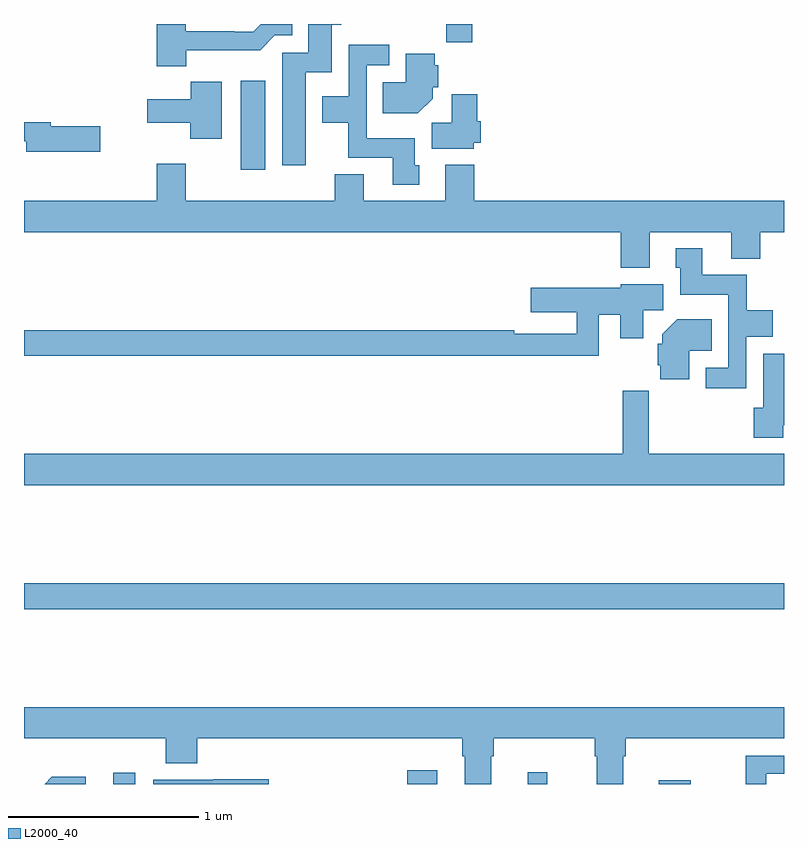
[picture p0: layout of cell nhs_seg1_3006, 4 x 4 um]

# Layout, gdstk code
import gdstk
lib = gdstk.Library(unit=1e-6, precision=1e-09)
def R(c, l, rs):  # rectangles x0, y0, x1, y1
    for r in rs: c.add(gdstk.rectangle(r[:2], r[2:], *l))
def P(c, l, *ps):  # polygons
    for p in ps: c.add(gdstk.Polygon(p, *l))
L2000_40 = (2000, 40)

nhs_seg1_3006 = lib.new_cell('nhs_seg1_3006')
R(nhs_seg1_3006, L2000_40, [(275.471,510.199,275.586,510.259), (277.016,510.199,277.174,510.271), (277.652,510.199,277.754,510.262), (278.342,510.199,278.508,510.22), (275,511.12,279,511.256), (276.14,513.432,276.271,513.901), (277.222,514.104,277.358,514.199)])
P(nhs_seg1_3006, L2000_40, [(276.484,513.944),(276.619,513.944),(276.619,514.195),(276.671,514.195),(276.671,514.199),(276.497,514.199),(276.497,514.047),(276.359,514.047),(276.359,513.456),(276.484,513.456)],
  [(275.854,514.062),(276.243,514.062),(276.321,514.14),(276.412,514.14),(276.412,514.199),(276.247,514.199),(276.206,514.158),(276.107,514.158),(276.107,514.161),(275.851,514.161),(275.851,514.199),(275.699,514.199),(275.699,513.977),(275.854,513.977)],
  [(277.081,513.456),(277.057,513.456),(277.057,513.598),(276.804,513.598),(276.804,513.981),(276.922,513.981),(276.922,514.09),(276.708,514.09),(276.708,513.82),(276.569,513.82),(276.569,513.68),(276.706,513.68),(276.706,513.494),(276.941,513.494),(276.941,513.354),(277.081,513.354)],
  [(277.15,513.806),(277.15,513.867),(277.179,513.867),(277.179,513.981),(277.163,513.981),(277.163,514.042),(277.01,514.042),(277.01,513.892),(276.889,513.892),(276.889,513.728),(277.072,513.728)],
  [(276.04,513.895),(275.878,513.895),(275.878,513.802),(275.649,513.802),(275.649,513.68),(275.876,513.68),(275.876,513.594),(276.04,513.594)],
  [(277.368,513.573),(277.403,513.573),(277.403,513.687),(277.385,513.687),(277.385,513.829),(277.251,513.829),(277.251,513.68),(277.145,513.68),(277.145,513.542),(277.368,513.542)],
  [(275.401,513.662),(275.14,513.662),(275.14,513.683),(275,513.683),(275,513.582),(275.012,513.582),(275.012,513.527),(275.401,513.527)],
  [(278.293,513.104),(278.723,513.104),(278.723,512.963),(278.876,512.963),(278.876,513.104),(279,513.104),(279,513.268),(277.37,513.268),(277.37,513.457),(277.217,513.457),(277.217,513.268),(276.787,513.268),(276.787,513.409),(276.635,513.409),(276.635,513.268),(275.851,513.268),(275.851,513.463),(275.699,513.463),(275.699,513.268),(275,513.268),(275,513.104),(278.141,513.104),(278.141,512.915),(278.293,512.915)],
  [(278.802,512.552),(278.941,512.552),(278.941,512.692),(278.805,512.692),(278.805,512.878),(278.569,512.878),(278.569,513.019),(278.429,513.019),(278.429,512.916),(278.453,512.916),(278.453,512.774),(278.706,512.774),(278.706,512.391),(278.589,512.391),(278.589,512.283),(278.802,512.283)],
  [(278.025,512.669),(278.138,512.669),(278.138,512.544),(278.259,512.544),(278.259,512.692),(278.365,512.692),(278.365,512.83),(278.142,512.83),(278.142,512.811),(277.668,512.811),(277.668,512.681),(277.909,512.681),(277.909,512.568),(277.58,512.568),(277.58,512.588),(275,512.588),(275,512.452),(278.025,512.452)],
  [(278.5,512.48),(278.621,512.48),(278.621,512.644),(278.438,512.644),(278.36,512.566),(278.36,512.517),(278.336,512.517),(278.336,512.403),(278.348,512.403),(278.348,512.33),(278.5,512.33)],
  [(278.997,512.088),(279,512.088),(279,512.464),(278.891,512.464),(278.891,512.178),(278.84,512.178),(278.84,512.022),(278.997,512.022)],
  [(279,511.936),(278.288,511.936),(278.288,512.269),(278.152,512.269),(278.152,511.936),(275,511.936),(275,511.772),(279,511.772)],
  [(277.459,510.344),(277.472,510.344),(277.472,510.44),(278.003,510.44),(278.003,510.344),(278.015,510.344),(278.015,510.199),(278.155,510.199),(278.155,510.344),(278.168,510.344),(278.168,510.44),(279,510.44),(279,510.604),(275,510.604),(275,510.44),(275.747,510.44),(275.747,510.307),(275.912,510.307),(275.912,510.44),(277.307,510.44),(277.307,510.344),(277.319,510.344),(277.319,510.199),(277.459,510.199)],
  [(278.907,510.252),(279,510.252),(279,510.348),(278.799,510.348),(278.799,510.199),(278.907,510.199)],
  [(275.326,510.236),(275.147,510.236),(275.11,510.199),(275.326,510.199)],
  [(276.287,510.224),(275.995,510.224),(275.995,510.222),(275.679,510.222),(275.679,510.199),(276.287,510.199)])

lib.write_gds('nhs_seg1_3006.gds')
